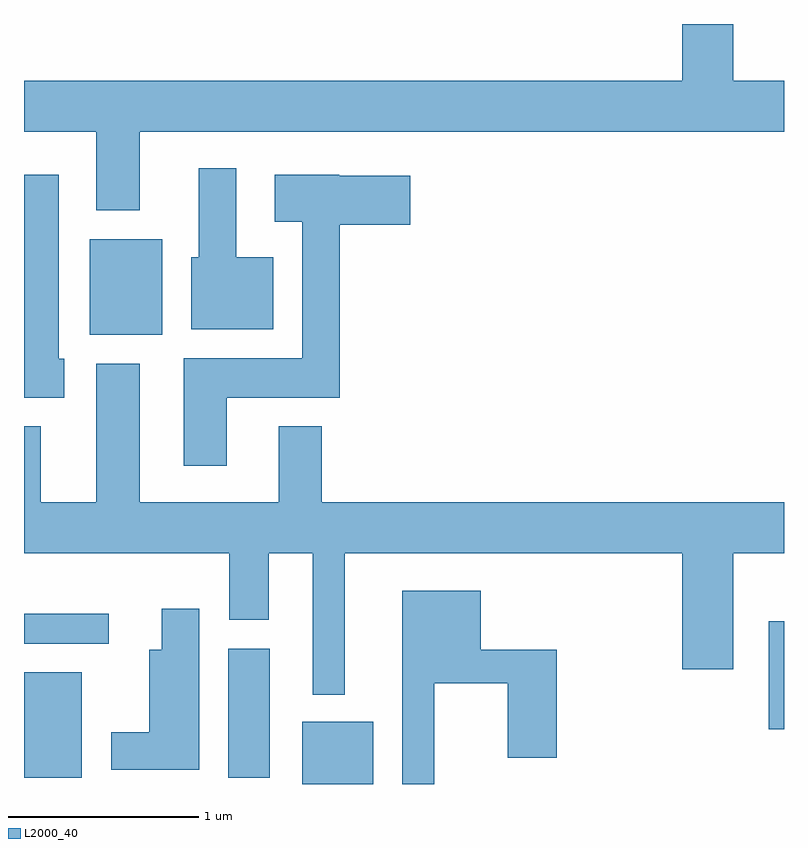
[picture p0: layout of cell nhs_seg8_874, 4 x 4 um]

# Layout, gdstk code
import gdstk
lib = gdstk.Library(unit=1e-6, precision=1e-09)
def R(c, l, rs):  # rectangles x0, y0, x1, y1
    for r in rs: c.add(gdstk.rectangle(r[:2], r[2:], *l))
def P(c, l, *ps):  # polygons
    for p in ps: c.add(gdstk.Polygon(p, *l))
L2000_40 = (2000, 40)

nhs_seg8_874 = lib.new_cell('nhs_seg8_874')
R(nhs_seg8_874, L2000_40, [(213.076,1806.342,213.449,1806.669), (211.611,1806.376,211.914,1806.929), (212.686,1806.376,212.904,1807.054), (215.531,1806.631,215.611,1807.199), (211.611,1807.081,212.058,1807.239), (211.956,1808.706,212.339,1809.209)])
P(nhs_seg8_874, L2000_40, [(215.076,1810.342),(215.076,1810.044),(211.611,1810.044),(211.611,1809.776),(211.991,1809.776),(211.991,1809.361),(212.219,1809.361),(212.219,1809.776),(215.611,1809.776),(215.611,1810.044),(215.344,1810.044),(215.344,1810.342)],
  [(212.924,1809.114),(212.729,1809.114),(212.729,1809.584),(212.531,1809.584),(212.531,1809.114),(212.491,1809.114),(212.491,1808.736),(212.924,1808.736)],
  [(212.679,1808.376),(213.274,1808.376),(213.274,1809.286),(213.644,1809.286),(213.644,1809.544),(213.27,1809.544),(213.27,1809.549),(212.931,1809.549),(212.931,1809.301),(213.076,1809.301),(213.076,1808.584),(212.451,1808.584),(212.451,1808.016),(212.679,1808.016)],
  [(211.824,1808.579),(211.794,1808.579),(211.794,1809.549),(211.611,1809.549),(211.611,1808.376),(211.824,1808.376)],
  [(213.299,1807.556),(215.076,1807.556),(215.076,1806.946),(215.344,1806.946),(215.344,1807.556),(215.611,1807.556),(215.611,1807.824),(213.179,1807.824),(213.179,1808.224),(212.951,1808.224),(212.951,1807.824),(212.219,1807.824),(212.219,1808.554),(211.991,1808.554),(211.991,1807.824),(211.699,1807.824),(211.699,1808.224),(211.611,1808.224),(211.611,1807.556),(212.691,1807.556),(212.691,1807.206),(212.899,1807.206),(212.899,1807.556),(213.131,1807.556),(213.131,1806.813),(213.299,1806.813)],
  [(213.769,1806.871),(214.156,1806.871),(214.156,1806.481),(214.414,1806.481),(214.414,1807.049),(214.014,1807.049),(214.014,1807.359),(213.601,1807.359),(213.601,1806.342),(213.769,1806.342)],
  [(212.534,1807.264),(212.336,1807.264),(212.336,1807.049),(212.271,1807.049),(212.271,1806.614),(212.071,1806.614),(212.071,1806.416),(212.534,1806.416)])

lib.write_gds('nhs_seg8_874.gds')
